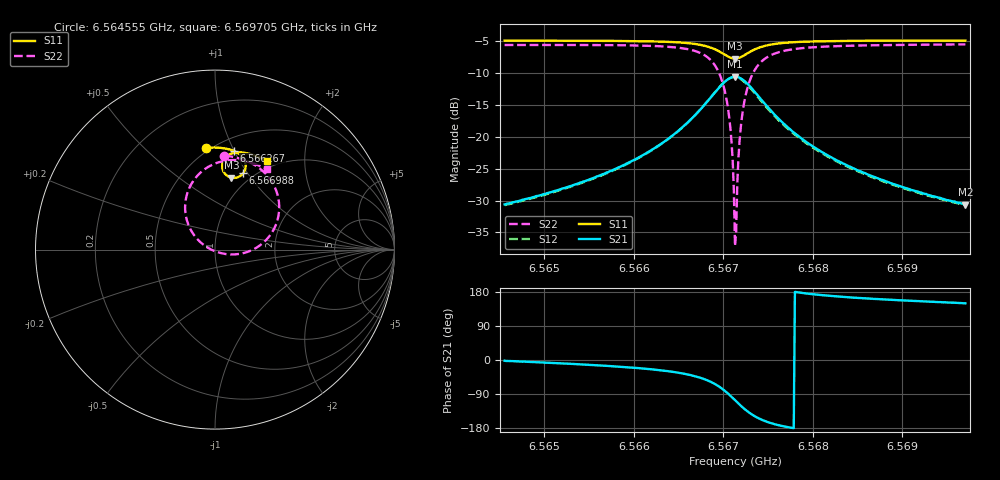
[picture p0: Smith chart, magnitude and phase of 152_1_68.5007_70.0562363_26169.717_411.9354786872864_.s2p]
#  HZ  S  RI  R  50.00
! Rohde & Schwarz Vector Network Analyzer
! Rohde-Schwarz,ZNB20-2Port,1311601062101988,3.16
! Created: UTC 3/20/2024, 5:10:34 PM
! freq[Hz]  re:S11  im:S11  re:S21  im:S21  re:S12  im:S12  re:S22  im:S22
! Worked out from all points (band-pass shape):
!   401 points, 6.564555 GHz to 6.569705 GHz, reference 50 ohm
!   highest |S21| = -10.56 dB at 6.56713 GHz (marker M1); lowest = -30.6 dB at 6.569705 GHz (marker M2)
!   |S21| within 3 dB of the highest: 6.566874 GHz to 6.567388 GHz (513.8 kHz wide, 0.00782 % of centre)
!   lowest |S11| = -7.7 dB at 6.56713 GHz (marker M3), VSWR 2.40, Z = 42.1 + j40.6 ohm
!   |S11| at or under -10 dB: nowhere
!   |S22| runs from -37.2 to -5.5 dB; largest |S21 - S12| = 0.014
!   S11 on the Smith chart (normalised r, x): 6.564555 GHz: 0.48, +0.80; 6.566267 GHz: 0.62, +1.00; 6.566988 GHz: 0.89, +0.95; 6.569705 GHz: 0.90, +1.32
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6.5645545e9  -0.0477 0.5671  0.0295 -0.00097  0.029 -0.00151  0.0529 0.5232
6.5654172e9  0.0239 0.5673  0.0431 -0.0089  0.0424 -0.00951  0.1369 0.5077
6.5662671e9  0.1054 0.5497  0.0762 -0.0375  0.0749 -0.0384  0.2549 0.4476
6.56628e9  0.1068 0.5491  0.0767 -0.0384  0.0757 -0.0395  0.2573 0.4455
6.5665762e9  0.1422 0.5273  0.0997 -0.0751  0.0983 -0.0766  0.3195 0.3734
6.5667822e9  0.1663 0.4929  0.1129 -0.1351  0.1104 -0.1379  0.3569 0.2576
6.5668981e9  0.1705 0.4587  0.1018 -0.1949  0.0967 -0.1986  0.3411 0.1436
6.5669882e9  0.1573 0.4254  0.0618 -0.2517  0.0531 -0.255  0.2678 0.0375
6.5670655e9  0.1265 0.403  -0.00766 -0.2872  -0.02 -0.2865  0.1396 -0.0235
6.5670912e9  0.1128 0.4  -0.0368 -0.2906  -0.0497 -0.2879  0.0869 -0.0272
6.567117e9  0.0982 0.3998  -0.0669 -0.2882  -0.0798 -0.2833  0.0332 -0.0196
6.5671299e9  0.0911 0.401  -0.0818 -0.2849  -0.0944 -0.2786  0.00705 -0.012
6.5671427e9  0.0841 0.403  -0.0964 -0.28  -0.1084 -0.2727  -0.018 -0.00149
6.5671556e9  0.0774 0.4058  -0.1103 -0.2735  -0.1218 -0.2653  -0.0417 0.0114
6.5671814e9  0.0651 0.4133  -0.1353 -0.2574  -0.1453 -0.2472  -0.0835 0.0434
6.56722e9  0.0511 0.4284  -0.1647 -0.2264  -0.1719 -0.2148  -0.1303 0.1016
6.5672715e9  0.0414 0.4515  -0.187 -0.1809  -0.1902 -0.1688  -0.1618 0.1847
6.5673359e9  0.041 0.4783  -0.193 -0.1286  -0.1927 -0.1179  -0.1633 0.2764
6.5675677e9  0.0789 0.5292  -0.1479 -0.0285  -0.1446 -0.0241  -0.062 0.4446
6.5679926e9  0.1422 0.5422  -0.0845 0.00925  -0.0824 0.0105  0.079 0.4983
6.5688553e9  0.2247 0.5229  -0.0409 0.0158  -0.04 0.016  0.2101 0.4819
6.5697052e9  0.2884 0.4926  -0.0253 0.0149  -0.025 0.015  0.2871 0.4474
